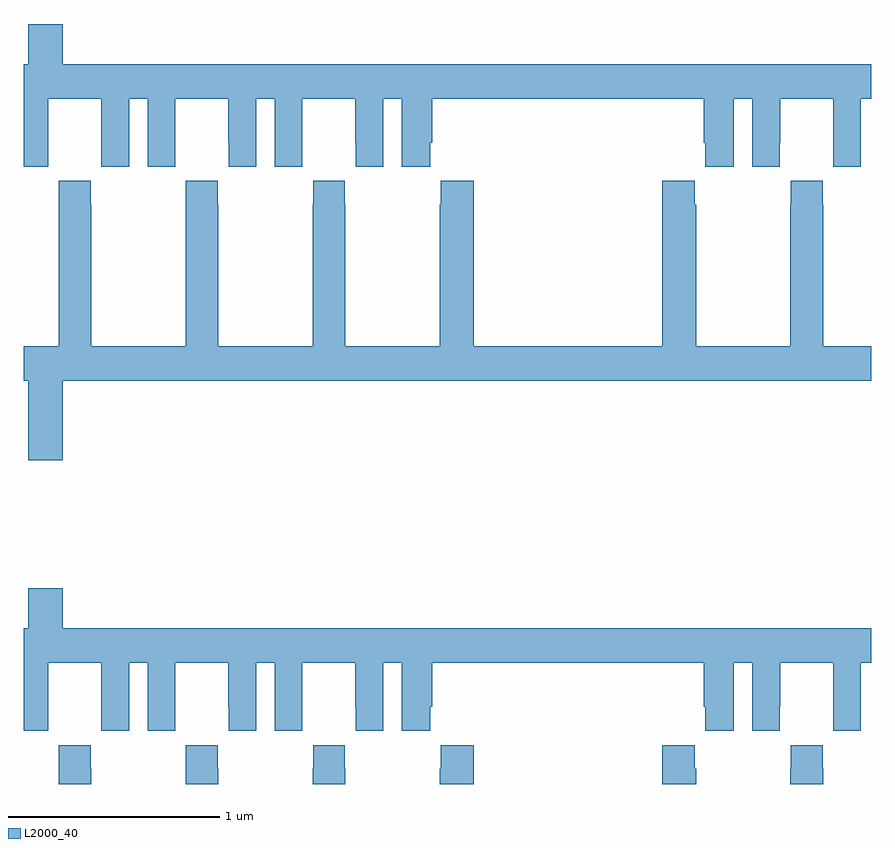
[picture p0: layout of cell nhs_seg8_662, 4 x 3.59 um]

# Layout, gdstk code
import gdstk
lib = gdstk.Library(unit=1e-6, precision=1e-09)
def P(c, l, *ps):  # polygons
    for p in ps: c.add(gdstk.Polygon(p, *l))
L2000_40 = (2000, 40)

nhs_seg8_662 = lib.new_cell('nhs_seg8_662')
P(nhs_seg8_662, L2000_40, [(153.114,1146.928),(153.115,1146.928),(153.115,1147.136),(153.365,1147.136),(153.365,1146.928),(153.366,1146.928),(153.366,1146.816),(153.496,1146.816),(153.496,1147.136),(153.584,1147.136),(153.584,1146.816),(153.714,1146.816),(153.714,1146.928),(153.715,1146.928),(153.715,1147.136),(153.965,1147.136),(153.965,1146.928),(153.966,1146.928),(153.966,1146.816),(154.096,1146.816),(154.096,1147.136),(154.184,1147.136),(154.184,1146.816),(154.314,1146.816),(154.314,1146.928),(154.315,1146.928),(154.315,1147.136),(154.565,1147.136),(154.565,1146.928),(154.566,1146.928),(154.566,1146.816),(154.696,1146.816),(154.696,1147.136),(154.784,1147.136),(154.784,1146.816),(154.918,1146.816),(154.918,1146.928),(154.928,1146.928),(154.928,1147.136),(156.209,1147.136),(156.209,1146.928),(156.218,1146.928),(156.218,1146.816),(156.352,1146.816),(156.352,1147.136),(156.44,1147.136),(156.44,1146.816),(156.57,1146.816),(156.57,1146.928),(156.571,1146.928),(156.571,1147.136),(156.821,1147.136),(156.821,1146.928),(156.822,1146.928),(156.822,1146.816),(156.952,1146.816),(156.952,1147.136),(157,1147.136),(157,1147.3),(153.184,1147.3),(153.184,1147.489),(153.02,1147.489),(153.02,1147.3),(153,1147.3),(153,1146.816),(153.114,1146.816)],
  [(153.184,1145.804),(157,1145.804),(157,1145.968),(156.774,1145.968),(156.774,1146.635),(156.771,1146.635),(156.771,1146.748),(156.621,1146.748),(156.621,1146.635),(156.619,1146.635),(156.619,1145.968),(156.174,1145.968),(156.174,1146.635),(156.167,1146.635),(156.167,1146.748),(156.014,1146.748),(156.014,1145.968),(155.123,1145.968),(155.123,1146.748),(154.969,1146.748),(154.969,1146.635),(154.963,1146.635),(154.963,1145.968),(154.518,1145.968),(154.518,1146.635),(154.515,1146.635),(154.515,1146.748),(154.365,1146.748),(154.365,1146.635),(154.363,1146.635),(154.363,1145.968),(153.918,1145.968),(153.918,1146.635),(153.915,1146.635),(153.915,1146.748),(153.765,1146.748),(153.765,1146.635),(153.763,1146.635),(153.763,1145.968),(153.318,1145.968),(153.318,1146.635),(153.315,1146.635),(153.315,1146.748),(153.165,1146.748),(153.165,1146.635),(153.163,1146.635),(153.163,1145.968),(153,1145.968),(153,1145.804),(153.02,1145.804),(153.02,1145.43),(153.184,1145.43)],
  [(153.114,1144.264),(153.115,1144.264),(153.115,1144.472),(153.365,1144.472),(153.365,1144.264),(153.366,1144.264),(153.366,1144.152),(153.496,1144.152),(153.496,1144.472),(153.584,1144.472),(153.584,1144.152),(153.714,1144.152),(153.714,1144.264),(153.715,1144.264),(153.715,1144.472),(153.965,1144.472),(153.965,1144.264),(153.966,1144.264),(153.966,1144.152),(154.096,1144.152),(154.096,1144.472),(154.184,1144.472),(154.184,1144.152),(154.314,1144.152),(154.314,1144.264),(154.315,1144.264),(154.315,1144.472),(154.565,1144.472),(154.565,1144.264),(154.566,1144.264),(154.566,1144.152),(154.696,1144.152),(154.696,1144.472),(154.784,1144.472),(154.784,1144.152),(154.918,1144.152),(154.918,1144.264),(154.928,1144.264),(154.928,1144.472),(156.209,1144.472),(156.209,1144.264),(156.218,1144.264),(156.218,1144.152),(156.352,1144.152),(156.352,1144.472),(156.44,1144.472),(156.44,1144.152),(156.57,1144.152),(156.57,1144.264),(156.571,1144.264),(156.571,1144.472),(156.821,1144.472),(156.821,1144.264),(156.822,1144.264),(156.822,1144.152),(156.952,1144.152),(156.952,1144.472),(157,1144.472),(157,1144.636),(153.184,1144.636),(153.184,1144.825),(153.02,1144.825),(153.02,1144.636),(153,1144.636),(153,1144.152),(153.114,1144.152)],
  [(153.318,1143.971),(153.315,1143.971),(153.315,1144.084),(153.165,1144.084),(153.165,1143.971),(153.163,1143.971),(153.163,1143.9),(153.318,1143.9)],
  [(156.774,1143.971),(156.771,1143.971),(156.771,1144.084),(156.621,1144.084),(156.621,1143.971),(156.619,1143.971),(156.619,1143.9),(156.774,1143.9)],
  [(156.174,1143.971),(156.167,1143.971),(156.167,1144.084),(156.014,1144.084),(156.014,1143.9),(156.174,1143.9)],
  [(155.123,1144.084),(154.969,1144.084),(154.969,1143.971),(154.963,1143.971),(154.963,1143.9),(155.123,1143.9)],
  [(154.518,1143.971),(154.515,1143.971),(154.515,1144.084),(154.365,1144.084),(154.365,1143.971),(154.363,1143.971),(154.363,1143.9),(154.518,1143.9)],
  [(153.918,1143.971),(153.915,1143.971),(153.915,1144.084),(153.765,1144.084),(153.765,1143.971),(153.763,1143.971),(153.763,1143.9),(153.918,1143.9)])

lib.write_gds('nhs_seg8_662.gds')
